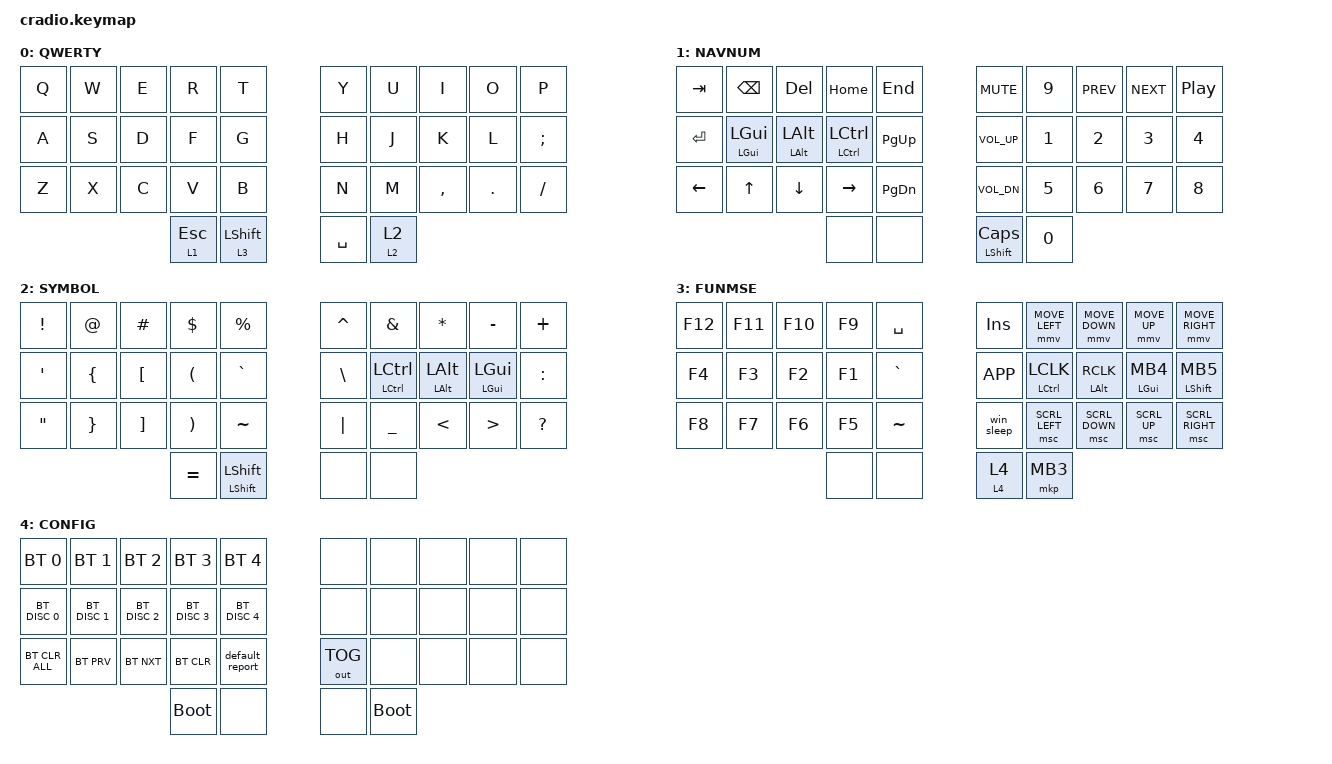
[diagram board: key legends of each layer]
/* spellchecker:disable */
#include <behaviors.dtsi>
#include <dt-bindings/zmk/bt.h>
#include <dt-bindings/zmk/keys.h>
#include <dt-bindings/zmk/outputs.h>
#include <dt-bindings/zmk/mouse.h>

// #define ZMK_MOUSE_DEFAULT_MOVE_VAL 800  // 600
// #define ZMK_MOUSE_DEFAULT_SCRL_VAL 20    // 10

&lt {
    flavor = "hold-preferred";
};

&sk {
    release-after-ms = <4000>;
    quick-release;
    lazy;
};

/ {
    chosen {
        zmk,charmap = &charmap_us;
    };
    behaviors {
        // mmv {
        //     acceleration-exponent = <0>;      // 1
        //     time-to-max-speed-ms = <900>;    // 40
        //     delay-ms = <0>;                   // 0
        // };
        // msc {
        //     acceleration-exponent = <1>;      // 0
        //     time-to-max-speed-ms = <400>;      // 500
        //     delay-ms = <0>;                   // 10
        // };
        lsk: layer_stick_key {
            compatible = "zmk,behavior-hold-tap";
            #binding-cells = <2>;
            flavor = "hold-preferred";
            tapping-term-ms = <200>;
            bindings = <&mo>, <&sk>;
        };   
        lsl: layer_stick_layer {
            compatible = "zmk,behavior-hold-tap";
            #binding-cells = <2>;
            flavor = "hold-preferred";
            tapping-term-ms = <200>;
            bindings = <&mo>, <&sl>;
        };   
        lcw: layer_capsword {
            compatible = "zmk,behavior-hold-tap";
            #binding-cells = <2>;
            tapping-term-ms = <200>;
            flavor = "hold-preferred";
            bindings = <&mo>, <&caps_word>;      
        };
        hs: hold_stick {
            compatible = "zmk,behavior-hold-tap";
            #binding-cells = <2>;
            flavor = "hold-preferred";
            tapping-term-ms = <200>;
            bindings = <&kp>, <&sk>;
        };      
        hmk: hold_mouse_key {
            compatible = "zmk,behavior-hold-tap";
            #binding-cells = <2>;
            flavor = "hold-preferred";
            tapping-term-ms = <200>;
            bindings = <&kp>, <&mkp>;
        };
        hcw: hold_capsword {
            compatible = "zmk,behavior-hold-tap";
            #binding-cells = <2>;
            flavor = "hold-preferred";
            tapping-term-ms = <200>;
            bindings = <&kp>, <&caps_word>;
        };
    };
    macros {
        win_sleep: win_sleep {
            wait-ms = <50>;
            tap-ms = <5>;
            compatible = "zmk,behavior-macro";
            #binding-cells = <0>;
            bindings = <&kp LG(X) &kp U &kp S>;
        };
    };
    keymap {
        compatible = "zmk,keymap";
        layer0 {
            display-name = "QWERTY";
            bindings = <
                 &kp Q            &kp W            &kp E            &kp R            &kp T                             &kp Y            &kp U            &kp I            &kp O            &kp P
                 &kp A            &kp S            &kp D            &kp F            &kp G                             &kp H            &kp J            &kp K            &kp L            &kp SEMI
                 &kp Z            &kp X            &kp C            &kp V            &kp B                             &kp N            &kp M            &kp COMMA        &kp DOT          &kp FSLH
                                                                    &lt 1 ESC        &lsk 3 LSHFT                      &kp SPACE        &lsl 2 2 >;

        };
        layer1 {
            display-name = "NAVNUM";
            bindings = <
                 &kp TAB          &kp BSPC         &kp DEL          &kp HOME         &kp END                           &kp C_MUTE       &kp N9           &kp C_PREV       &kp C_NEXT       &kp C_PLAY_PAUSE
                 &kp ENTER        &hs LGUI LGUI    &hs LALT LALT    &hs LCTRL LCTRL  &kp PG_UP                         &kp C_VOL_UP     &kp N1           &kp N2           &kp N3           &kp N4
                 &kp LEFT         &kp UP           &kp DOWN         &kp RIGHT        &kp PG_DN                         &kp C_VOL_DN     &kp N5           &kp N6           &kp N7           &kp N8
                                                                    &none            &none                             &hcw LSHFT CAPS  &kp N0 >;

        };
        layer2 {
            display-name = "SYMBOL";
            bindings = <
                 &kp EXCL         &kp AT           &kp POUND        &kp DLLR         &kp PRCNT                         &kp CARET        &kp AMPS         &kp ASTRK        &kp MINUS        &kp PLUS
                 &kp SQT          &kp LBRC         &kp LBKT         &kp LPAR         &kp GRAVE                         &kp BSLH         &hs LCTRL LCTRL  &hs LALT LALT    &hs LGUI LGUI    &kp COLON
                 &kp DQT          &kp RBRC         &kp RBKT         &kp RPAR         &kp TILDE                         &kp PIPE         &kp UNDER        &kp LT           &kp GT           &kp QMARK
                                                                    &kp EQUAL        &hs LSHFT LSHFT                   &none            &none >;

        };
        layer3 {
            display-name = "FUNMSE";
            bindings = <
                 &kp F12          &kp F11          &kp F10          &kp F9           &kp SPACE                         &kp INS          &mmv MOVE_LEFT   &mmv MOVE_DOWN   &mmv MOVE_UP     &mmv MOVE_RIGHT
                 &kp F4           &kp F3           &kp F2           &kp F1           &kp GRAVE                         &kp K_APP        &hmk LCTRL LCLK  &hmk LALT RCLK   &hmk LGUI MB4    &hmk LSHFT MB5
                 &kp F8           &kp F7           &kp F6           &kp F5           &kp TILDE                         &win_sleep       &msc SCRL_LEFT   &msc SCRL_DOWN   &msc SCRL_UP     &msc SCRL_RIGHT
                                                                    &none            &none                             &lsl 4 4         &mkp MB3 >;

        };
        layer4 {
            display-name = "CONFIG";
            bindings = <
                 &bt BT_SEL 0     &bt BT_SEL 1     &bt BT_SEL 2     &bt BT_SEL 3     &bt BT_SEL 4                      &none            &none            &none            &none            &none
                 &bt BT_DISC 0    &bt BT_DISC 1    &bt BT_DISC 2    &bt BT_DISC 3    &bt BT_DISC 4                     &none            &none            &none            &none            &none
                 &bt BT_CLR_ALL   &bt BT_PRV       &bt BT_NXT       &bt BT_CLR       &default_report                   &out OUT_TOG     &none            &none            &none            &none
                                                                    &bootloader      &none                             &none            &bootloader >;

        };
    };
};
